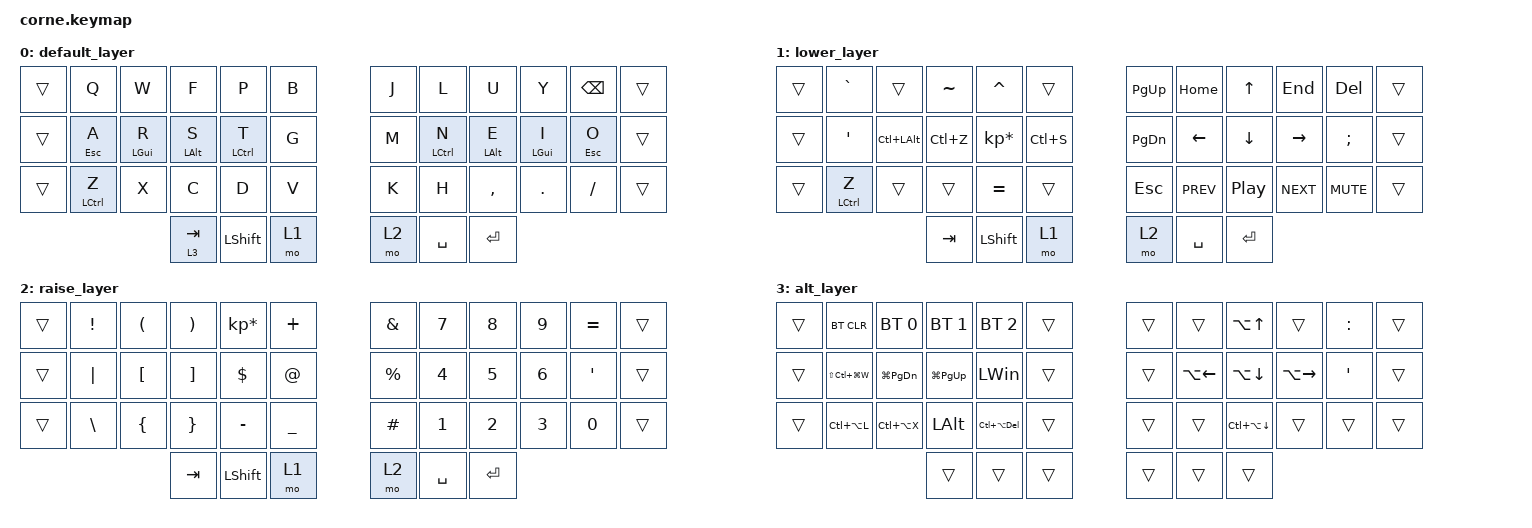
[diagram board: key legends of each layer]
/*
 * Copyright (c) 2020 The ZMK Contributors
 *
 * SPDX-License-Identifier: MIT
 */

#include <behaviors.dtsi>
#include <dt-bindings/zmk/keys.h>
#include <dt-bindings/zmk/bt.h>

/ {
    behaviors {

        shiftz: shift_z {
            compatible = "zmk,behavior-mod-morph";
            label = "SHIFT_Z";
            #binding-cells = <0>;
            bindings = <&kp LSHIFT>, <&kp Z>;
            mods = <(MOD_LCTL|MOD_RCTL)>;
        };

        layer1alt: layer_1_alt {
            compatible = "zmk,behavior-mod-morph";
            label = "LAYER_1_ALT";
            #binding-cells = <0>;
            bindings = <&mo 1>, <&kp LALT>;
            mods = <(MOD_LCTL|MOD_RCTL)>;
        };

        lsoh: layer_shift_on_hold {
            compatible = "zmk,behavior-hold-tap";
            label = "LAYER_SHIFT_ON_HOLD";
            tapping-term-ms = <150>;
            flavor = "hold-preferred";
            #binding-cells = <2>;
            bindings = <&mo>, <&kp>;
        };

        hm: homerow_mods {
            compatible = "zmk,behavior-hold-tap";
            #binding-cells = <2>;
            tapping-term-ms = <250>;
            quick-tap-ms = <135>;
            require-prior-idle-ms = <250>;
            flavor = "tap-preferred";
            bindings = <&kp>, <&kp>;
        };

    };

        keymap {
                compatible = "zmk,keymap";

                default_layer {
                        bindings = <
     &trans &kp Q       &kp W        &kp F      &kp P       &kp B &kp J     &kp L       &kp U      &kp Y      &kp BSPC  &trans
     &trans &hm ESC A   &hm LGUI R   &hm LALT S &hm LCTRL T &kp G &kp M     &hm LCTRL N &hm LALT E &hm LGUI I &hm ESC O &trans
     &trans &mt LCTRL Z &kp X        &kp C      &kp D       &kp V &kp K     &kp H       &kp COMMA  &kp DOT    &kp FSLH  &trans
                        &lsoh 3 TAB  &kp LSHIFT &mo 1       &mo 2 &kp SPACE &kp RET
                        >;
                };
                lower_layer {
                        bindings = <
     &trans &kp GRAVE   &trans        &kp TILDE &kp CARET       &trans    &kp PG_UP &kp HOME   &kp UP   &kp END    &kp DEL      &trans
     &trans &kp APOS    &kp LC(LALT)  &kp LC(Z) &kp KP_MULTIPLY &kp LC(S) &kp PG_DN &kp LEFT   &kp DOWN &kp RIGHT  &kp SEMI     &trans
     &trans &mt LCTRL Z &trans        &trans    &kp EQUAL       &trans    &kp ESC   &kp K_PREV &kp C_PP &kp K_NEXT &kp C_MUTE   &trans
                                      &kp TAB   &kp LSHIFT      &mo 1     &mo 2     &kp SPACE  &kp RET
                        >;
                };
                raise_layer {
                        bindings = <
   &trans &kp EXCL  &kp LPAR &kp RPAR &kp KP_MULTIPLY &kp PLUS  &kp AMPS  &kp N7 &kp N8 &kp N9 &kp EQUAL &trans
   &trans &kp PIPE  &kp LBKT &kp RBKT &kp DLLR        &kp AT    &kp PRCNT &kp N4 &kp N5 &kp N6 &kp APOS  &trans
   &trans &kp BSLH  &kp LBRC &kp RBRC &kp MINUS       &kp UNDER &kp HASH  &kp N1 &kp N2 &kp N3 &kp N0    &trans
                    	     &kp TAB  &kp LSHIFT      &mo 1     &mo 2     &kp SPACE  &kp RET
                        >;
                };
                                alt_layer {
                        bindings = <
   &trans &bt BT_CLR          &bt BT_SEL 0    &bt BT_SEL 1    &bt BT_SEL 2    &trans &trans &trans       &kp LA(UP)       &trans        &kp COLON &trans
   &trans &kp LS(LC(LG(W)))   &kp LG(PG_DN)   &kp LG(PG_UP)   &kp LWIN        &trans &trans &kp LA(LEFT) &kp LA(DOWN)     &kp LA(RIGHT) &kp APOS  &trans
   &trans &kp LC(LA(L))       &kp LC(LA(X))   &kp LALT        &kp LC(LA(DEL)) &trans &trans &trans       &kp LC(LA(DOWN)) &trans        &trans    &trans
                              &trans          &trans          &trans          &trans &trans &trans
                                        >;
                                };
        };
};
/*
                empty_layer {
                        bindings = <
     &trans &trans &trans &trans &trans &trans   &trans &trans &trans &trans &trans &trans
     &trans &trans &trans &trans &trans &trans   &trans &trans &trans &trans &trans &trans
     &trans &trans &trans &trans &trans &trans   &trans &trans &trans &trans &trans &trans
                          &trans &trans &trans   &trans &trans &trans
                        >;
                };
*/
